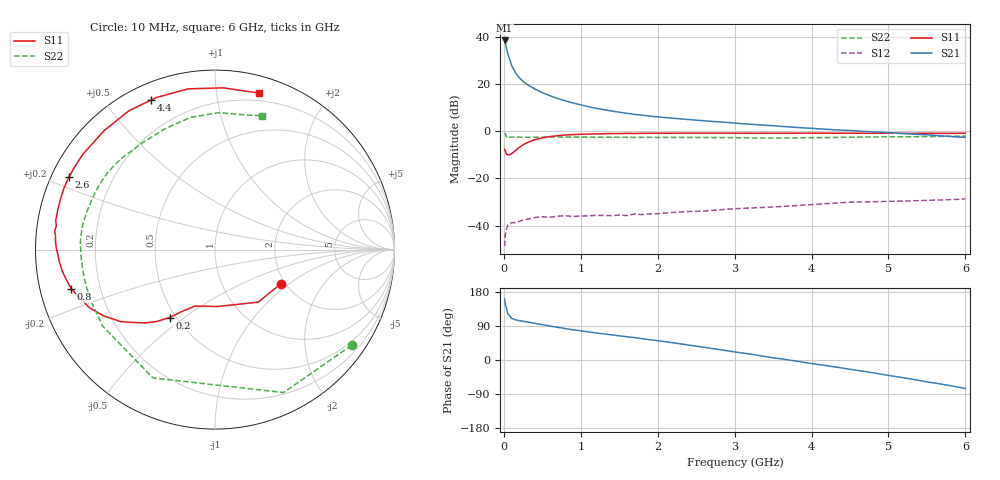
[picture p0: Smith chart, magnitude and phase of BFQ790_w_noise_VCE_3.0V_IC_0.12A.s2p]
! Infineon Technologies  Discrete & RF Semiconductors
! BFQ790
! VCE =  3.0 V,  IC = 0.12 A
! Common Emitter S-Parameters:  May 2015
# GHz  S  MA  R  50
!  f  S11  S21  S12  S22
! GHz  MAG  ANG  MAG  ANG  MAG  ANG  MAG  ANG
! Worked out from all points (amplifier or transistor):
!   77 points, 10 MHz to 6 GHz, reference 50 ohm
!   highest |S21| = 38.4 dB at 10 MHz (marker M1)
!   |S21| within 3 dB of that: start of sweep to 32.8 MHz
!   unconditionally stable (mu >= 1): 1.149 GHz to end of sweep
!   at 130 MHz: K = 0.71, MSG = 32.4 dB, |S12| = -38.7 dB
!   at 2.2 GHz: K = 1.22, MAG = 17.1 dB, |S12| = -34.3 dB
!   at 6 GHz: K = 1.20, MAG = 10.3 dB, |S12| = -28.7 dB
!   lowest NFmin = 2.73 dB at 1.5 GHz
!   S11 on the Smith chart (normalised r, x): 10 MHz: 1.89, -0.87; 200 MHz: 0.46, -0.44; 800 MHz: 0.09, -0.13; 2.6 GHz: 0.05, +0.23; 4.4 GHz: 0.07, +0.66; 6 GHz: 0.13, +1.31
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0.01  0.4131 -27.5  82.94 161.0  0.0037 65.7  0.929 -35.0
0.02  0.379 -50.6  72.21 145.1  0.0067 54.6  0.8833 -64.4
0.05  0.3173 -88.0  43.3 121.5  0.0103 33.5  0.7942 -115.8
0.1  0.3326 -109.2  24.44 109.8  0.0116 19.1  0.7575 -145.8
0.15  0.389 -117.9  17.25 106.0  0.0116 20.6  0.7477 -157.8
0.2  0.4553 -123.8  13.55 103.8  0.0124 19.8  0.7465 -164.3
0.25  0.5151 -129.0  11.31 102.2  0.0132 18.2  0.7452 -168.5
0.3  0.5678 -133.9  9.755 100.4  0.0137 14.1  0.7455 -171.7
0.4  0.6603 -142.5  7.813 96.7  0.0149 14.0  0.7467 -176.3
0.5  0.7226 -149.3  6.522 93.1  0.0155 9.3  0.748 -179.7
0.6  0.7714 -155.2  5.623 89.7  0.0152 11.2  0.7509 177.6
0.7  0.8003 -160.5  4.913 86.2  0.0159 11.8  0.7509 175.3
0.8  0.8301 -164.7  4.393 82.9  0.0163 5.9  0.75 173.5
1.1  0.8698 -175.5  3.303 74.1  0.0162 5.6  0.7489 168.3
1.5  0.8915 175.2  2.517 63.8  0.0168 7.4  0.743 162.7
2.1  0.9043 164.0  1.941 48.2  0.0186 4.8  0.7387 154.1
2.6  0.9087 153.5  1.662 33.6  0.0205 3.8  0.7359 144.6
3.1  0.9047 142.0  1.444 18.5  0.0233 -2.6  0.7238 133.4
4.1  0.9073 119.7  1.121 -12.2  0.0287 -15.8  0.7302 110.0
4.4  0.9059 113.2  1.051 -21.2  0.0308 -20.6  0.7424 102.9
5.1  0.9034 97.0  0.91 -43.8  0.033 -33.8  0.7621 86.4
6  0.9061 74.2  0.741 -75.1  0.0368 -53.5  0.7895 70.8
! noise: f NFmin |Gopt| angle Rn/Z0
0.45  4.3  0.41  134  0.42
0.9  3.08  0.54  164  0.15
1.5  2.73  0.66  -174  0.08
1.8  2.83  0.68  -169  0.08
2.6  3.21  0.73  -152  0.21
3.5  3.79  0.83  -136  0.49
